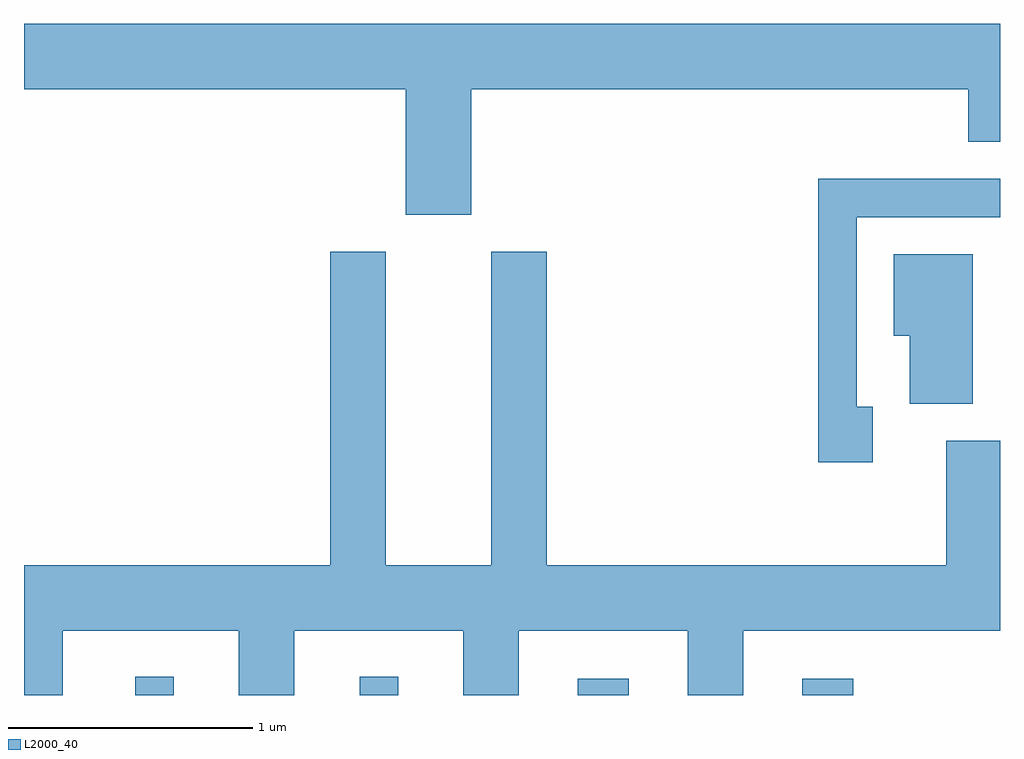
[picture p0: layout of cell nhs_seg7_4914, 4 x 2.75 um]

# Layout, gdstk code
import gdstk
lib = gdstk.Library(unit=1e-6, precision=1e-09)
def R(c, l, rs):  # rectangles x0, y0, x1, y1
    for r in rs: c.add(gdstk.rectangle(r[:2], r[2:], *l))
def P(c, l, *ps):  # polygons
    for p in ps: c.add(gdstk.Polygon(p, *l))
L2000_40 = (2000, 40)

nhs_seg7_4914 = lib.new_cell('nhs_seg7_4914')
R(nhs_seg7_4914, L2000_40, [(336.066,1736.252,336.224,1736.328), (336.986,1736.252,337.144,1736.328), (337.881,1736.252,338.089,1736.319), (338.801,1736.252,339.009,1736.319)])
P(nhs_seg7_4914, L2000_40, [(337.444,1738.736),(339.481,1738.736),(339.481,1738.521),(339.611,1738.521),(339.611,1739.004),(335.611,1739.004),(335.611,1738.736),(337.176,1738.736),(337.176,1738.221),(337.444,1738.221)],
  [(339.089,1737.434),(339.024,1737.434),(339.024,1738.211),(339.611,1738.211),(339.611,1738.369),(338.866,1738.369),(338.866,1737.206),(339.089,1737.206)],
  [(335.769,1736.516),(336.491,1736.516),(336.491,1736.252),(336.719,1736.252),(336.719,1736.516),(337.411,1736.516),(337.411,1736.252),(337.639,1736.252),(337.639,1736.516),(338.331,1736.516),(338.331,1736.252),(338.559,1736.252),(338.559,1736.516),(339.611,1736.516),(339.611,1737.294),(339.391,1737.294),(339.391,1736.784),(337.754,1736.784),(337.754,1738.069),(337.526,1738.069),(337.526,1736.784),(337.094,1736.784),(337.094,1738.069),(336.866,1738.069),(336.866,1736.784),(335.611,1736.784),(335.611,1736.252),(335.769,1736.252)],
  [(339.499,1738.059),(339.176,1738.059),(339.176,1737.726),(339.241,1737.726),(339.241,1737.446),(339.499,1737.446)])

lib.write_gds('nhs_seg7_4914.gds')
